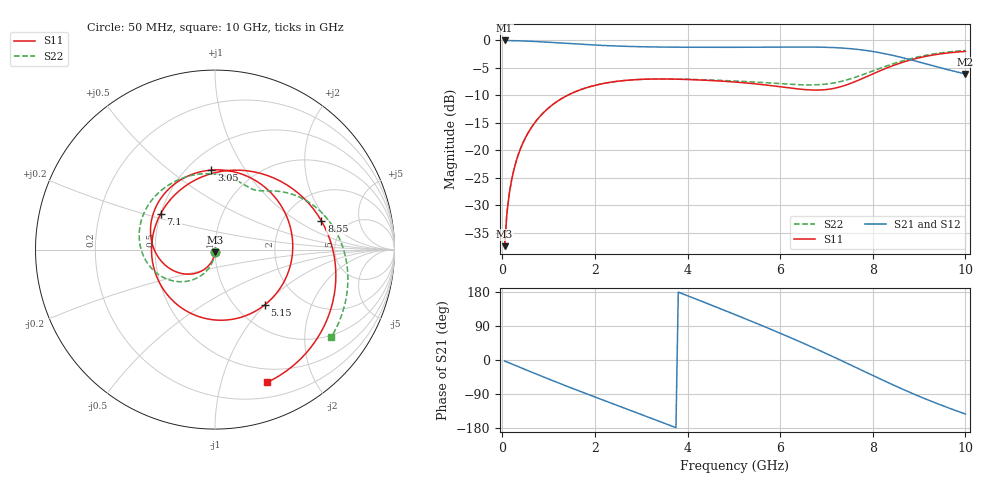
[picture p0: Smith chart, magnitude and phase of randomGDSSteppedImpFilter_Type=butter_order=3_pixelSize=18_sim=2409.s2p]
! freq	dB(S11)	phase(S11)	dB(S12)	phase(S12)
!  dB(S21)	phase(S21)	dB(S22)	phase(S22)
!S-par simulation data
#  GHz  S  DB  R 50
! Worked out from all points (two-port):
!   200 points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, 50 MHz to 10 GHz, reference 50 ohm
!   highest |S21| = 0.00 dB at 50 MHz (marker M1); lowest = -6.1 dB at 10 GHz (marker M2)
!   |S21| within 3 dB of the highest: start of sweep to 8.579 GHz
!   lowest |S11| = -37.4 dB at 50 MHz (marker M3), VSWR 1.03, Z = 49.9 - j1.35 ohm
!   |S11| at or under -10 dB: start of sweep to 1.403 GHz
!   |S22| runs from -37.4 to -1.8 dB; largest |S21 - S12| = 0
!   S11 on the Smith chart (normalised r, x): 50 MHz: 1.00, -0.03; 3.05 GHz: 0.65, +0.72; 5.15 GHz: 1.35, -1.00; 7.1 GHz: 0.50, +0.23; 8.55 GHz: 3.25, +1.68; 10 GHz: 0.35, -1.41
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0.05  -37.40 -92.8  -0.00 -2.6  -0.00 -2.6  -37.40 -92.1
0.1  -31.39 -95.9  -0.01 -5.2  -0.01 -5.2  -31.39 -94.4
0.2  -25.42 -101.9  -0.03 -10.2  -0.03 -10.2  -25.41 -99.0
0.5  -17.69 -119.7  -0.11 -25.4  -0.11 -25.4  -17.68 -112.1
1.15  -11.28 -157.1  -0.41 -57.5  -0.41 -57.5  -11.28 -139.2
1.75  -8.78 168.9  -0.72 -85.9  -0.72 -85.9  -8.77 -162.1
2.35  -7.58 134.5  -0.98 -113.7  -0.98 -113.7  -7.58 176.8
3.05  -7.06 92.7  -1.16 -145.9  -1.16 -145.9  -7.05 154.4
3.4  -7.01 70.8  -1.20 -162.1  -1.20 -162.1  -6.99 144.0
3.85  -7.06 41.6  -1.23 176.7  -1.23 176.7  -7.03 131.1
4.25  -7.18 14.8  -1.24 157.6  -1.24 157.6  -7.12 120.1
5.05  -7.58 -40.6  -1.25 118.7  -1.25 118.7  -7.38 98.6
5.15  -7.65 -47.7  -1.25 113.7  -1.25 113.7  -7.42 95.9
5.9  -8.31 -103.5  -1.21 75.9  -1.21 75.9  -7.80 76.6
6.3  -8.73 -136.5  -1.19 55.0  -1.19 55.0  -8.01 67.6
6.7  -9.01 -173.2  -1.20 33.4  -1.20 33.4  -8.08 60.1
7.1  -8.81 146.5  -1.28 11.1  -1.28 11.1  -7.81 53.9
7.75  -7.02 81.1  -1.70 -26.3  -1.70 -26.3  -6.33 42.2
8.35  -4.85 30.0  -2.56 -60.8  -2.56 -60.8  -4.49 25.0
8.55  -4.24 15.2  -2.94 -71.9  -2.94 -71.9  -3.94 18.0
9.2  -2.80 -26.6  -4.37 -105.8  -4.37 -105.8  -2.62 -6.5
10  -1.99 -68.5  -6.09 -142.5  -6.09 -142.5  -1.82 -36.9
